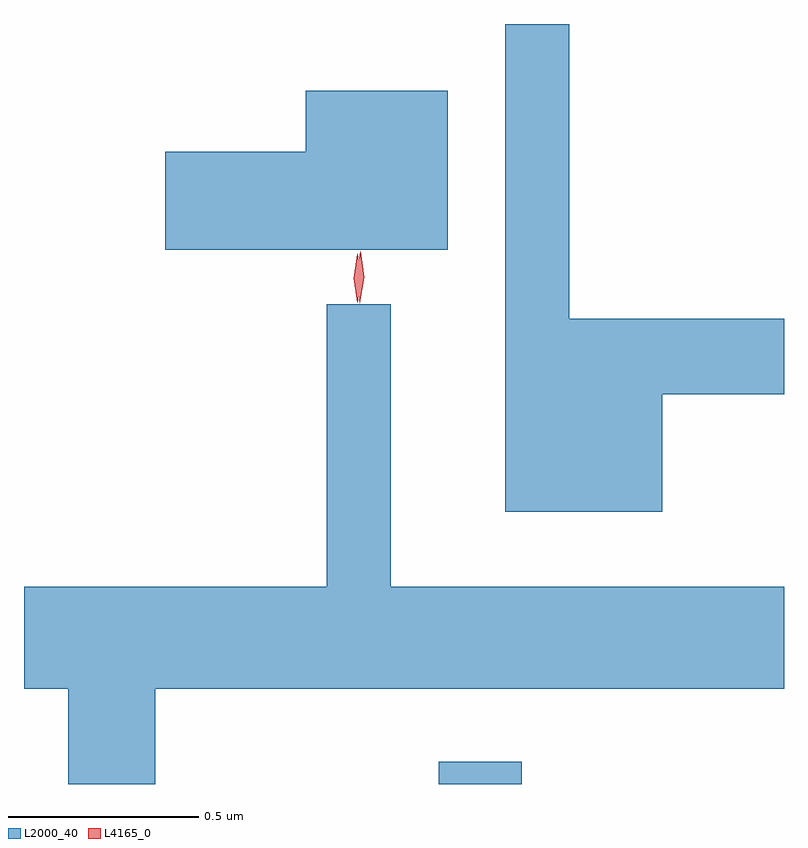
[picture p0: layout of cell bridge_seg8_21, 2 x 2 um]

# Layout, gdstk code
import gdstk
lib = gdstk.Library(unit=1e-6, precision=1e-09)
def R(c, l, rs):  # rectangles x0, y0, x1, y1
    for r in rs: c.add(gdstk.rectangle(r[:2], r[2:], *l))
def P(c, l, *ps):  # polygons
    for p in ps: c.add(gdstk.Polygon(p, *l))
L2000_40 = (2000, 40)
L4165_0 = (4165, 0)

bridge_seg8_21 = lib.new_cell('bridge_seg8_21')
R(bridge_seg8_21, L2000_40, [(1748.186,1927.185,1748.404,1927.244)])
P(bridge_seg8_21, L2000_40, [(1748.774,1928.211),(1749.094,1928.211),(1749.094,1928.409),(1748.529,1928.409),(1748.529,1929.185),(1748.361,1929.185),(1748.361,1927.901),(1748.774,1927.901)],
  [(1748.209,1929.009),(1747.836,1929.009),(1747.836,1928.849),(1747.466,1928.849),(1747.466,1928.591),(1748.209,1928.591)],
  [(1747.439,1927.436),(1749.094,1927.436),(1749.094,1927.704),(1748.059,1927.704),(1748.059,1928.448),(1747.891,1928.448),(1747.891,1927.704),(1747.094,1927.704),(1747.094,1927.436),(1747.211,1927.436),(1747.211,1927.185),(1747.439,1927.185)])
P(bridge_seg8_21, L4165_0, [(1747.977,1928.45),(1747.969,1928.518),(1747.979,1928.586),(1747.98,1928.586),(1747.98,1928.586),(1747.989,1928.518),(1747.978,1928.45),(1747.978,1928.45)],
  [(1747.971,1928.453),(1747.962,1928.516),(1747.971,1928.579),(1747.972,1928.58),(1747.972,1928.579),(1747.982,1928.516),(1747.972,1928.453),(1747.972,1928.453)])

lib.write_gds('bridge_seg8_21.gds')
